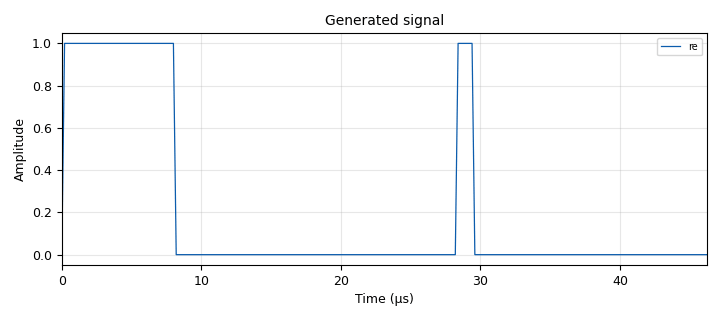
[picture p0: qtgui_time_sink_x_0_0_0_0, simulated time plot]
options:
  parameters:
    generate_options: qt_gui
    id: test_example
    output_language: python
    title: lab3_antsdr_tone
  states: {}

blocks:
- name: amp_0
  id: variable_qtgui_range
  parameters:
    label: Amplitude0
    start: '0'
    step: '0.1'
    stop: '100'
    value: '1'
  states: {state: disabled}
- name: amp_1
  id: variable_qtgui_range
  parameters:
    label: Amplitude1
    start: '0'
    step: '0.1'
    stop: '100'
    value: '0'
  states: {state: disabled}
- name: bw
  id: variable
  parameters:
    value: 56e6
  states: {}
- name: center_freq
  id: variable
  parameters:
    value: 3.6e9
  states: {}
- name: freq_0
  id: variable_qtgui_range
  parameters:
    label: Frequency0
    start: '0'
    step: '50'
    stop: 2e9
    value: 100e3
  states: {state: disabled}
- name: freq_1
  id: variable_qtgui_range
  parameters:
    label: Frequency1
    start: '0'
    step: '50'
    stop: 5e6
    value: 625e3
  states: {state: disabled}
- name: gain
  id: variable
  parameters:
    value: '75'
  states: {}
- name: samp_rate
  id: variable
  parameters:
    value: 5e6
  states: {}
- name: train_freq
  id: variable
  parameters:
    value: samp_rate/232
  states: {}
- name: analog_frequency_modulator_fc_0
  id: analog_frequency_modulator_fc
  parameters:
    sensitivity: '6.2832'
  states: {state: disabled}
- name: analog_sig_source_x_0_0
  id: analog_sig_source_x
  parameters:
    amp: amp_0
    freq: freq_0
    offset: '0'
    phase: '0'
    samp_rate: samp_rate
    type: float
    waveform: analog.GR_SQR_WAVE
  states: {state: disabled}
- name: analog_sig_source_x_0_0_0_0
  id: analog_sig_source_x
  parameters:
    amp: '1'
    freq: 100e3
    offset: '0'
    phase: '0'
    samp_rate: samp_rate
    type: float
    waveform: analog.GR_SAW_WAVE
  states: {state: disabled}
- name: analog_sig_source_x_1
  id: analog_sig_source_x
  parameters:
    amp: '0'
    freq: '0'
    offset: '0'
    phase: '0'
    samp_rate: samp_rate
    type: float
    waveform: analog.GR_CONST_WAVE
  states: {state: disabled}
- name: blocks_add_xx_0
  id: blocks_add_xx
  parameters:
    type: float
  states: {}
- name: blocks_delay_0
  id: blocks_delay
  parameters:
    delay: '141'
    type: float
  states: {}
- name: blocks_float_to_complex_0
  id: blocks_float_to_complex
  parameters: {}
  states: {state: disabled}
- name: blocks_multiply_xx_0
  id: blocks_multiply_xx
  parameters:
    type: complex
  states: {state: disabled}
- name: epy_block_0
  id: epy_block
  parameters:
    _source_code: |
      import numpy as np
      from gnuradio import gr

      class blk(gr.sync_block):
          def __init__(self, sample_rate=1e6, frequency=1000, duty_cycle=0.1):
              gr.sync_block.__init__(self,
                  name='Square with flexible duty',
                  in_sig=None,
                  out_sig=[np.float32])
              
              self.sample_rate = sample_rate
              self.frequency = frequency
              self.samples_per_period = sample_rate / frequency
              self.phase = 0
              
              # Register parameters
              self.sample_rate = sample_rate
              self.frequency = frequency
              self.duty_cycle = duty_cycle

          def work(self, input_items, output_items):
              out = output_items[0]
              n_samples = len(out)
              
              for i in range(n_samples):
                  pos_in_period = self.phase / self.samples_per_period
                  
                  if pos_in_period < self.duty_cycle:
                      out[i] = 1.0
                  else:
                      out[i] = 0.0
                  
                  self.phase += 1
                  if self.phase >= self.samples_per_period:
                      self.phase -= self.samples_per_period
              
              return n_samples
    duty_cycle: 40/232
    frequency: train_freq
    sample_rate: samp_rate
  states: {}
- name: epy_block_0_0
  id: epy_block
  parameters:
    _source_code: |
      import numpy as np
      from gnuradio import gr

      class blk(gr.sync_block):
          def __init__(self, sample_rate=1e6, frequency=1000, duty_cycle=0.1):
              gr.sync_block.__init__(self,
                  name='Square with flexible duty',
                  in_sig=None,
                  out_sig=[np.float32])
              
              self.sample_rate = sample_rate
              self.frequency = frequency
              self.samples_per_period = sample_rate / frequency
              self.phase = 0
              
              # Register parameters
              self.sample_rate = sample_rate
              self.frequency = frequency
              self.duty_cycle = duty_cycle

          def work(self, input_items, output_items):
              out = output_items[0]
              n_samples = len(out)
              
              for i in range(n_samples):
                  pos_in_period = self.phase / self.samples_per_period
                  
                  if pos_in_period < self.duty_cycle:
                      out[i] = 1.0
                  else:
                      out[i] = 0.0
                  
                  self.phase += 1
                  if self.phase >= self.samples_per_period:
                      self.phase -= self.samples_per_period
              
              return n_samples
    duty_cycle: 6/232
    frequency: train_freq
    sample_rate: samp_rate
  states: {}
- name: qtgui_freq_sink_x_0
  id: qtgui_freq_sink_x
  parameters:
    bw: bw
    fc: '0'
    fftsize: '1024'
    name: '"spectrum_ rx1"'
    type: complex
  states: {state: disabled}
- name: qtgui_freq_sink_x_0_0
  id: qtgui_freq_sink_x
  parameters:
    bw: bw
    fc: '0'
    fftsize: '1024'
    name: '"spectrum_rx2"'
    type: complex
  states: {state: disabled}
- name: qtgui_time_sink_x_0
  id: qtgui_time_sink_x
  parameters:
    autoscale: 'True'
    name: '"scope_rx2"'
    size: '1024'
    srate: samp_rate
    type: complex
  states: {state: disabled}
- name: qtgui_time_sink_x_0_0
  id: qtgui_time_sink_x
  parameters:
    autoscale: 'True'
    name: '"scope_rx1"'
    size: '1024'
    srate: samp_rate
    type: complex
  states: {state: disabled}
- name: qtgui_time_sink_x_0_0_0
  id: qtgui_time_sink_x
  parameters:
    label1: re
    label2: im
    name: '"Generated signal"'
    size: '128'
    srate: samp_rate
    tr_mode: qtgui.TRIG_MODE_AUTO
    type: complex
    update_time: '0.1'
  states: {state: disabled}
- name: qtgui_time_sink_x_0_0_0_0
  id: qtgui_time_sink_x
  parameters:
    autoscale: 'True'
    grid: 'True'
    label1: re
    name: '"Generated signal"'
    size: '232'
    srate: samp_rate
    tr_mode: qtgui.TRIG_MODE_AUTO
    type: float
    update_time: '0.1'
  states: {}
- name: uhd_usrp_sink_0
  id: uhd_usrp_sink
  parameters:
    ant0: '"TX/RX"'
    ant1: '"TX/RX"'
    bw0: bw
    bw1: bw
    center_freq0: center_freq
    center_freq1: center_freq
    dev_addr: '"type=b200"'
    gain0: gain
    gain1: gain
    nchan: '2'
    samp_rate: samp_rate
    stream_chans: '[0,1]'
    sync: none
    type: fc32
  states: {state: disabled}
- name: uhd_usrp_source_0
  id: uhd_usrp_source
  parameters:
    ant0: '"RX2"'
    ant1: '"RX2"'
    bw0: 1e6
    bw1: 1e6
    center_freq0: center_freq
    center_freq1: center_freq
    dev_addr: '"type=b200"'
    gain0: '40'
    gain1: '40'
    nchan: '2'
    samp_rate: samp_rate
    stream_chans: '[0,1]'
    sync: none
    type: fc32
  states: {state: disabled}

connections:
- [analog_frequency_modulator_fc_0, '0', blocks_multiply_xx_0, '1']
- [analog_sig_source_x_0_0, '0', blocks_float_to_complex_0, '0']
- [analog_sig_source_x_0_0_0_0, '0', analog_frequency_modulator_fc_0, '0']
- [analog_sig_source_x_1, '0', blocks_float_to_complex_0, '1']
- [blocks_add_xx_0, '0', qtgui_time_sink_x_0_0_0_0, '0']
- [blocks_delay_0, '0', blocks_add_xx_0, '1']
- [blocks_float_to_complex_0, '0', blocks_multiply_xx_0, '0']
- [blocks_multiply_xx_0, '0', qtgui_time_sink_x_0_0_0, '0']
- [blocks_multiply_xx_0, '0', uhd_usrp_sink_0, '0']
- [blocks_multiply_xx_0, '0', uhd_usrp_sink_0, '1']
- [epy_block_0, '0', blocks_add_xx_0, '0']
- [epy_block_0_0, '0', blocks_delay_0, '0']
- [uhd_usrp_source_0, '0', qtgui_freq_sink_x_0, '0']
- [uhd_usrp_source_0, '0', qtgui_time_sink_x_0_0, '0']
- [uhd_usrp_source_0, '1', qtgui_freq_sink_x_0_0, '0']
- [uhd_usrp_source_0, '1', qtgui_time_sink_x_0, '0']

metadata:
  file_format: 1
